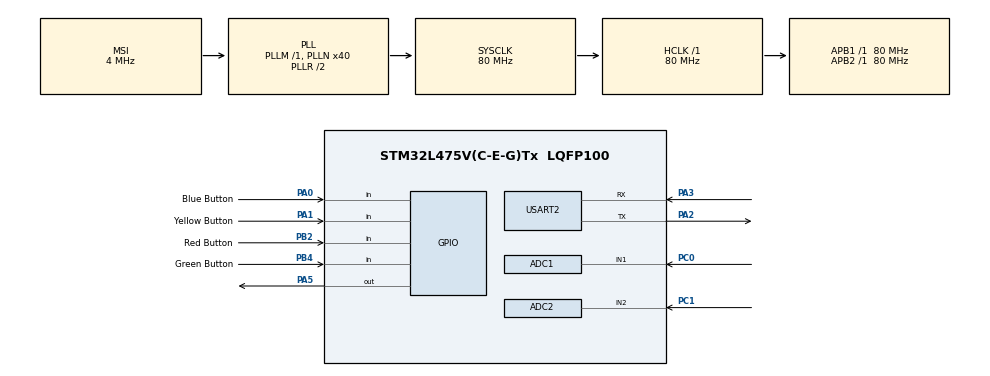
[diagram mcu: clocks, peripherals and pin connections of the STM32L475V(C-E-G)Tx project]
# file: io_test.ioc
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ADC1.Channel-1\#ChannelRegularConversion=ADC_CHANNEL_1
ADC1.NbrOfConversionFlag=1
ADC1.OffsetNumber-1\#ChannelRegularConversion=ADC_OFFSET_NONE
ADC1.Rank-1\#ChannelRegularConversion=1
ADC1.SamplingTime-1\#ChannelRegularConversion=ADC_SAMPLETIME_2CYCLES_5
ADC1.master=1
ADC2.Channel-1\#ChannelRegularConversion=ADC_CHANNEL_2
ADC2.NbrOfConversionFlag=1
ADC2.OffsetNumber-1\#ChannelRegularConversion=ADC_OFFSET_NONE
ADC2.Rank-1\#ChannelRegularConversion=1
ADC2.SamplingTime-1\#ChannelRegularConversion=ADC_SAMPLETIME_2CYCLES_5
FREERTOS.Tasks01=defaultTask,24,128,StartDefaultTask,Default,NULL,Dynamic,NULL,NULL
Mcu.Family=STM32L4
Mcu.Name=STM32L475V(C-E-G)Tx
Mcu.Package=LQFP100
NVIC.PriorityGroup=NVIC_PRIORITYGROUP_4
NVIC.TIM1_UP_TIM16_IRQn=true\:15\:0\:false\:false\:true\:false\:false\:true\:true
NVIC.TimeBase=TIM1_UP_TIM16_IRQn
NVIC.TimeBaseIP=TIM1
PA0.GPIO_Label=Blue Button
PA0.GPIO_PuPd=GPIO_PULLUP
PA0.Signal=GPIO_Input
PA1.GPIO_Label=Yellow Button
PA1.GPIO_PuPd=GPIO_PULLUP
PA1.Signal=GPIO_Input
PA2.Mode=Asynchronous
PA2.Signal=USART2_TX
PA3.Mode=Asynchronous
PA3.Signal=USART2_RX
PA5.Signal=GPIO_Output
PB2.GPIO_Label=Red Button
PB2.GPIO_PuPd=GPIO_PULLUP
PB2.Signal=GPIO_Input
PB4\ (NJTRST).GPIO_Label=Green Button
PB4\ (NJTRST).GPIO_PuPd=GPIO_PULLUP
PB4\ (NJTRST).Signal=GPIO_Input
PC0.Signal=ADCx_IN1
PC1.Signal=ADCx_IN2
PH0-OSC_IN\ (PH0).Mode=HSE-External-Oscillator
PH0-OSC_IN\ (PH0).Signal=RCC_OSC_IN
PH1-OSC_OUT\ (PH1).Mode=HSE-External-Oscillator
PH1-OSC_OUT\ (PH1).Signal=RCC_OSC_OUT
ProjectManager.HeapSize=0x200
ProjectManager.StackSize=0x400
ProjectManager.TargetToolchain=Makefile
RCC.ADCFreq_Value=48000000
RCC.AHBFreq_Value=80000000
RCC.APB1Freq_Value=80000000
RCC.APB1TimFreq_Value=80000000
RCC.APB2Freq_Value=80000000
RCC.APB2TimFreq_Value=80000000
RCC.CortexFreq_Value=80000000
RCC.HCLKFreq_Value=80000000
RCC.HSE_VALUE=8000000
RCC.HSI_VALUE=16000000
RCC.LSE_VALUE=32768
RCC.MSI_VALUE=4000000
RCC.PLLN=40
RCC.PLLSAI1N=24
RCC.SYSCLKFreq_VALUE=80000000
RCC.SYSCLKSource=RCC_SYSCLKSOURCE_PLLCLK
RCC.USBFreq_Value=48000000
RCC.VCOOutputFreq_Value=160000000
SH.ADCx_IN1.0=ADC1_IN1,IN1-Single-Ended
SH.ADCx_IN2.0=ADC2_IN2,IN2-Single-Ended
USART2.VirtualMode-Asynchronous=VM_ASYNC
VP_FREERTOS_VS_CMSIS_V2.Mode=CMSIS_V2
VP_SYS_VS_tim1.Mode=TIM1
board=B-L475E-IOT01A1

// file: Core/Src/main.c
/* USER CODE BEGIN Header */
/**
  ******************************************************************************
  * @file           : main.c
  * @brief          : Main program body
  ******************************************************************************
  * @attention
  *
  * Copyright (c) 2023 STMicroelectronics.
  * All rights reserved.
  *
  * This software is licensed under terms that can be found in the LICENSE file
  * in the root directory of this software component.
  * If no LICENSE file comes with this software, it is provided AS-IS.
  *
  ******************************************************************************
  */
/* USER CODE END Header */
#include "main.h"
#include "cmsis_os.h"
#include "adc.h"
#include "usart.h"
#include "gpio.h"

/* USER CODE BEGIN PV */
TaskHandle_t LedFlashHandle;
TaskHandle_t JoystickHandle;
TaskHandle_t ButtonHandle;
/* USER CODE END PV */

void SystemClock_Config(void);
void PeriphCommonClock_Config(void);
void MX_FREERTOS_Init(void);
/* USER CODE BEGIN PFP */
void LedFlashTask(void *pvParameters);
void JoystickTask(void *pvParameters);
void ButtonTask(void *pvParameters);
/* USER CODE END PFP */

int main(void)
{

  /* MCU Configuration--------------------------------------------------------*/

  /* Reset of all peripherals, Initializes the Flash interface and the Systick. */
  HAL_Init();

  /* Configure the system clock */
  SystemClock_Config();

/* Configure the peripherals common clocks */
  PeriphCommonClock_Config();

  /* Initialize all configured peripherals */
  MX_GPIO_Init();
  MX_USART2_UART_Init();
  MX_ADC1_Init();
  MX_ADC2_Init();
  /* USER CODE BEGIN 2 */

  /* Uncomment the IO that you would like to test */

  //xTaskCreate(LedFlashTask, "LED Flash Task", configMINIMAL_STACK_SIZE, NULL, configMAX_PRIORITIES - 1, &LedFlashHandle);
  //xTaskCreate(ButtonTask, "Button Task", configMINIMAL_STACK_SIZE, NULL, configMAX_PRIORITIES - 1, &ButtonHandle);
  //xTaskCreate(JoystickTask, "Joystick Task", configMINIMAL_STACK_SIZE, NULL, configMAX_PRIORITIES - 1, &JoystickHandle);

  /* USER CODE END 2 */

  /* Init scheduler */
  osKernelInitialize();  /* Call init function for freertos objects (in freertos.c) */
  MX_FREERTOS_Init();

  /* Start scheduler */
  osKernelStart();

  /* We should never get here as control is now taken by the scheduler */
  /* Infinite loop */
  while (1)
  {

  }
}

void SystemClock_Config(void)
{
  RCC_OscInitTypeDef RCC_OscInitStruct = {0};
  RCC_ClkInitTypeDef RCC_ClkInitStruct = {0};

  /** Configure the main internal regulator output voltage
  */
  if (HAL_PWREx_ControlVoltageScaling(PWR_REGULATOR_VOLTAGE_SCALE1) != HAL_OK)
  {
    Error_Handler();
  }

  /** Initializes the RCC Oscillators according to the specified parameters
  * in the RCC_OscInitTypeDef structure.
  */
  RCC_OscInitStruct.OscillatorType = RCC_OSCILLATORTYPE_MSI;
  RCC_OscInitStruct.MSIState = RCC_MSI_ON;
  RCC_OscInitStruct.MSICalibrationValue = 0;
  RCC_OscInitStruct.MSIClockRange = RCC_MSIRANGE_6;
  RCC_OscInitStruct.PLL.PLLState = RCC_PLL_ON;
  RCC_OscInitStruct.PLL.PLLSource = RCC_PLLSOURCE_MSI;
  RCC_OscInitStruct.PLL.PLLM = 1;
  RCC_OscInitStruct.PLL.PLLN = 40;
  RCC_OscInitStruct.PLL.PLLP = RCC_PLLP_DIV7;
  RCC_OscInitStruct.PLL.PLLQ = RCC_PLLQ_DIV2;
  RCC_OscInitStruct.PLL.PLLR = RCC_PLLR_DIV2;
  if (HAL_RCC_OscConfig(&RCC_OscInitStruct) != HAL_OK)
  {
    Error_Handler();
  }

  /** Initializes the CPU, AHB and APB buses clocks
  */
  RCC_ClkInitStruct.ClockType = RCC_CLOCKTYPE_HCLK|RCC_CLOCKTYPE_SYSCLK
                              |RCC_CLOCKTYPE_PCLK1|RCC_CLOCKTYPE_PCLK2;
  RCC_ClkInitStruct.SYSCLKSource = RCC_SYSCLKSOURCE_PLLCLK;
  RCC_ClkInitStruct.AHBCLKDivider = RCC_SYSCLK_DIV1;
  RCC_ClkInitStruct.APB1CLKDivider = RCC_HCLK_DIV1;
  RCC_ClkInitStruct.APB2CLKDivider = RCC_HCLK_DIV1;

  if (HAL_RCC_ClockConfig(&RCC_ClkInitStruct, FLASH_LATENCY_4) != HAL_OK)
  {
    Error_Handler();
  }
}

void PeriphCommonClock_Config(void)
{
  RCC_PeriphCLKInitTypeDef PeriphClkInit = {0};

  /** Initializes the peripherals clock
  */
  PeriphClkInit.PeriphClockSelection = RCC_PERIPHCLK_ADC;
  PeriphClkInit.AdcClockSelection = RCC_ADCCLKSOURCE_PLLSAI1;
  PeriphClkInit.PLLSAI1.PLLSAI1Source = RCC_PLLSOURCE_MSI;
  PeriphClkInit.PLLSAI1.PLLSAI1M = 1;
  PeriphClkInit.PLLSAI1.PLLSAI1N = 24;
  PeriphClkInit.PLLSAI1.PLLSAI1P = RCC_PLLP_DIV7;
  PeriphClkInit.PLLSAI1.PLLSAI1Q = RCC_PLLQ_DIV2;
  PeriphClkInit.PLLSAI1.PLLSAI1R = RCC_PLLR_DIV2;
  PeriphClkInit.PLLSAI1.PLLSAI1ClockOut = RCC_PLLSAI1_ADC1CLK;
  if (HAL_RCCEx_PeriphCLKConfig(&PeriphClkInit) != HAL_OK)
  {
    Error_Handler();
  }
}

/* USER CODE BEGIN 4 */
void LedFlashTask(void *pvParameters)
{
  while (1)
  {
    HAL_GPIO_TogglePin(GPIOA, GPIO_PIN_5);
    vTaskDelay(pdMS_TO_TICKS(500)); // Delay for 3 seconds

  }
}

void JoystickTask(void *pvParameters)
{
  uint16_t VR[2];
  char x_val[10], y_val[10];

  while (1)
  {
    HAL_ADC_Start(&hadc1);
    HAL_ADC_PollForConversion(&hadc1, HAL_MAX_DELAY);
    VR[0] = HAL_ADC_GetValue(&hadc1);

    HAL_ADC_Start(&hadc2);
    HAL_ADC_PollForConversion(&hadc2, HAL_MAX_DELAY);
    VR[1] = HAL_ADC_GetValue(&hadc2);

    sprintf(x_val, "x: %hu ", VR[0]);
    sprintf(y_val, "y: %hu\r\n", VR[1]);
    HAL_UART_Transmit(&huart2, (uint8_t *)x_val, strlen(x_val), HAL_MAX_DELAY);
    HAL_UART_Transmit(&huart2, (uint8_t *)y_val, strlen(y_val), HAL_MAX_DELAY);

    //vTaskDelay(pdMS_TO_TICKS(500)); // Delay for 2 seconds
  }
}

void ButtonTask(void *pvParameters)
{
  char red[] = "red\r\n";
  char blue[] = "blue\r\n";
  char yellow[] = "yellow\r\n";
  char green[] = "green\r\n";

  while (1)
  {
    if (HAL_GPIO_ReadPin(GPIOB, GPIO_PIN_2) == GPIO_PIN_RESET)
    {
      HAL_UART_Transmit(&huart2, (uint8_t *)red, strlen(red), HAL_MAX_DELAY);
      vTaskDelay(pdMS_TO_TICKS(150));
    }

    if (HAL_GPIO_ReadPin(GPIOA, GPIO_PIN_0) == GPIO_PIN_RESET)
    {
      HAL_UART_Transmit(&huart2, (uint8_t *)blue, strlen(blue), HAL_MAX_DELAY);
      vTaskDelay(pdMS_TO_TICKS(150));
    }

    if (HAL_GPIO_ReadPin(GPIOA, GPIO_PIN_1) == GPIO_PIN_RESET)
    {
      HAL_UART_Transmit(&huart2, (uint8_t *)yellow, strlen(yellow), HAL_MAX_DELAY);
      vTaskDelay(pdMS_TO_TICKS(150));
    }

    if (HAL_GPIO_ReadPin(GPIOB, GPIO_PIN_4) == GPIO_PIN_RESET)
    {
      HAL_UART_Transmit(&huart2, (uint8_t *)green, strlen(green), HAL_MAX_DELAY);
      vTaskDelay(pdMS_TO_TICKS(150));
    }

    if (HAL_GPIO_ReadPin(GPIOD, GPIO_PIN_14) == GPIO_PIN_RESET)
    {
      HAL_UART_Transmit(&huart2, (uint8_t *)green, strlen(green), HAL_MAX_DELAY);
      vTaskDelay(pdMS_TO_TICKS(150));
    }
  }
}
/* USER CODE END 4 */

void HAL_TIM_PeriodElapsedCallback(TIM_HandleTypeDef *htim)
{
  if (htim->Instance == TIM1) {
    HAL_IncTick();
  }
}

void Error_Handler(void)
{
  __disable_irq();
  while (1)
  {
  }
}
